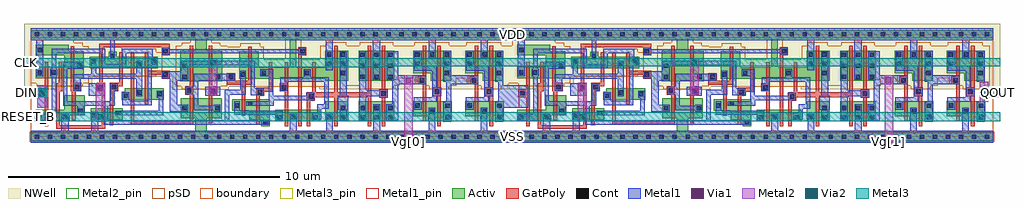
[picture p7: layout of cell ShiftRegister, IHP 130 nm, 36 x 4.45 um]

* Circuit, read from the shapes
.subckt ShiftRegister CLK DIN QOUT RESET_B VDD VSS Vg[0] Vg[1]
XM1 n1 DIN n2 VSS sg13_lv_nmos w=0.42u l=0.13u
XM2 VSS RESET_B n1 VSS sg13_lv_nmos w=0.42u l=0.13u
XM3 n3 n4 VSS VSS sg13_lv_nmos w=0.74u l=0.13u
XM4 n5 RESET_B VSS VSS sg13_lv_nmos w=0.42u l=0.13u
XM5 n6 n3 n5 VSS sg13_lv_nmos w=0.42u l=0.13u
XM6 n4 n7 n2 VSS sg13_lv_nmos w=0.42u l=0.13u
XM7 n6 n8 n4 VSS sg13_lv_nmos w=0.42u l=0.13u
XM8 VSS n7 n8 VSS sg13_lv_nmos w=0.74u l=0.13u
XM9 n7 CLK VSS VSS sg13_lv_nmos w=0.74u l=0.13u
XM10 n9 n7 n10 VSS sg13_lv_nmos w=0.42u l=0.13u
XM11 n3 n8 n9 VSS sg13_lv_nmos w=0.74u l=0.13u
XM12 VSS n11 n10 VSS sg13_lv_nmos w=0.42u l=0.13u
XM13 n12 RESET_B VSS VSS sg13_lv_nmos w=0.42u l=0.13u
XM14 n11 n9 n12 VSS sg13_lv_nmos w=0.42u l=0.13u
XM15 sg13g2_dfrbp_1_1/Q_N n9 VSS VSS sg13_lv_nmos w=0.74u l=0.13u
XM16 VSS n9 n13 VSS sg13_lv_nmos w=0.74u l=0.13u
XM17 Vg[0] n13 VSS VSS sg13_lv_nmos w=0.74u l=0.13u
XM18 VSS Vg[0] n14 VSS sg13_lv_nmos w=0.55u l=0.13u
XM19 sg13g2_buf_1_4/A n14 VSS VSS sg13_lv_nmos w=0.74u l=0.13u
XM20 VSS sg13g2_buf_1_4/A n15 VSS sg13_lv_nmos w=0.55u l=0.13u
XM21 sg13g2_dfrbp_1_0/D n15 VSS VSS sg13_lv_nmos w=0.74u l=0.13u
XM22 n16 sg13g2_dfrbp_1_0/D n17 VSS sg13_lv_nmos w=0.42u l=0.13u
XM23 VSS RESET_B n16 VSS sg13_lv_nmos w=0.42u l=0.13u
XM24 n18 n19 VSS VSS sg13_lv_nmos w=0.74u l=0.13u
XM25 n20 RESET_B VSS VSS sg13_lv_nmos w=0.42u l=0.13u
XM26 n21 n18 n20 VSS sg13_lv_nmos w=0.42u l=0.13u
XM27 n19 n22 n17 VSS sg13_lv_nmos w=0.42u l=0.13u
XM28 n21 n23 n19 VSS sg13_lv_nmos w=0.42u l=0.13u
XM29 VSS n22 n23 VSS sg13_lv_nmos w=0.74u l=0.13u
XM30 n22 CLK VSS VSS sg13_lv_nmos w=0.74u l=0.13u
XM31 n24 n22 n25 VSS sg13_lv_nmos w=0.42u l=0.13u
XM32 n18 n23 n24 VSS sg13_lv_nmos w=0.74u l=0.13u
XM33 VSS n26 n25 VSS sg13_lv_nmos w=0.42u l=0.13u
XM34 n27 RESET_B VSS VSS sg13_lv_nmos w=0.42u l=0.13u
XM35 n26 n24 n27 VSS sg13_lv_nmos w=0.42u l=0.13u
XM36 sg13g2_dfrbp_1_0/Q_N n24 VSS VSS sg13_lv_nmos w=0.74u l=0.13u
XM37 VSS n24 n28 VSS sg13_lv_nmos w=0.74u l=0.13u
XM38 Vg[1] n28 VSS VSS sg13_lv_nmos w=0.74u l=0.13u
XM39 VSS Vg[1] n29 VSS sg13_lv_nmos w=0.55u l=0.13u
XM40 sg13g2_buf_1_2/A n29 VSS VSS sg13_lv_nmos w=0.74u l=0.13u
XM41 VSS sg13g2_buf_1_2/A n30 VSS sg13_lv_nmos w=0.55u l=0.13u
XM42 QOUT n30 VSS VSS sg13_lv_nmos w=0.74u l=0.13u
XM43 n2 DIN VDD VDD sg13_lv_pmos w=0.42u l=0.13u
XM44 VDD RESET_B n2 VDD sg13_lv_pmos w=0.42u l=0.13u
XM45 n3 n4 VDD VDD sg13_lv_pmos w=1u l=0.13u
XM46 VDD RESET_B n4 VDD sg13_lv_pmos w=0.42u l=0.13u
XM47 n31 n3 VDD VDD sg13_lv_pmos w=0.42u l=0.13u
XM48 n4 n7 n31 VDD sg13_lv_pmos w=0.42u l=0.13u
XM49 n2 n8 n4 VDD sg13_lv_pmos w=0.42u l=0.13u
XM50 VDD n7 n8 VDD sg13_lv_pmos w=1.12u l=0.13u
XM51 n7 CLK VDD VDD sg13_lv_pmos w=1.12u l=0.13u
XM52 n9 n7 n3 VDD sg13_lv_pmos w=1u l=0.13u
XM53 n32 n8 n9 VDD sg13_lv_pmos w=0.42u l=0.13u
XM54 VDD n11 n32 VDD sg13_lv_pmos w=0.42u l=0.13u
XM55 n11 RESET_B VDD VDD sg13_lv_pmos w=0.42u l=0.13u
XM56 VDD n9 n11 VDD sg13_lv_pmos w=0.42u l=0.13u
XM57 sg13g2_dfrbp_1_1/Q_N n9 VDD VDD sg13_lv_pmos w=1.12u l=0.13u
XM58 VDD n9 n13 VDD sg13_lv_pmos w=1.12u l=0.13u
XM59 Vg[0] n13 VDD VDD sg13_lv_pmos w=1.12u l=0.13u
XM60 VDD Vg[0] n14 VDD sg13_lv_pmos w=0.84u l=0.13u
XM61 sg13g2_buf_1_4/A n14 VDD VDD sg13_lv_pmos w=1.12u l=0.13u
XM62 VDD sg13g2_buf_1_4/A n15 VDD sg13_lv_pmos w=0.84u l=0.13u
XM63 sg13g2_dfrbp_1_0/D n15 VDD VDD sg13_lv_pmos w=1.12u l=0.13u
XM64 n17 sg13g2_dfrbp_1_0/D VDD VDD sg13_lv_pmos w=0.42u l=0.13u
XM65 VDD RESET_B n17 VDD sg13_lv_pmos w=0.42u l=0.13u
XM66 n18 n19 VDD VDD sg13_lv_pmos w=1u l=0.13u
XM67 VDD RESET_B n19 VDD sg13_lv_pmos w=0.42u l=0.13u
XM68 n33 n18 VDD VDD sg13_lv_pmos w=0.42u l=0.13u
XM69 n19 n22 n33 VDD sg13_lv_pmos w=0.42u l=0.13u
XM70 n17 n23 n19 VDD sg13_lv_pmos w=0.42u l=0.13u
XM71 VDD n22 n23 VDD sg13_lv_pmos w=1.12u l=0.13u
XM72 n22 CLK VDD VDD sg13_lv_pmos w=1.12u l=0.13u
XM73 n24 n22 n18 VDD sg13_lv_pmos w=1u l=0.13u
XM74 n34 n23 n24 VDD sg13_lv_pmos w=0.42u l=0.13u
XM75 VDD n26 n34 VDD sg13_lv_pmos w=0.42u l=0.13u
XM76 n26 RESET_B VDD VDD sg13_lv_pmos w=0.42u l=0.13u
XM77 VDD n24 n26 VDD sg13_lv_pmos w=0.42u l=0.13u
XM78 sg13g2_dfrbp_1_0/Q_N n24 VDD VDD sg13_lv_pmos w=1.12u l=0.13u
XM79 VDD n24 n28 VDD sg13_lv_pmos w=1.12u l=0.13u
XM80 Vg[1] n28 VDD VDD sg13_lv_pmos w=1.12u l=0.13u
XM81 VDD Vg[1] n29 VDD sg13_lv_pmos w=0.84u l=0.13u
XM82 sg13g2_buf_1_2/A n29 VDD VDD sg13_lv_pmos w=1.12u l=0.13u
XM83 VDD sg13g2_buf_1_2/A n30 VDD sg13_lv_pmos w=0.84u l=0.13u
XM84 QOUT n30 VDD VDD sg13_lv_pmos w=1.12u l=0.13u
.ends

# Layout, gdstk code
import gdstk
lib = gdstk.Library(unit=1e-6, precision=1e-09)
def R(c, l, rs):  # rectangles x0, y0, x1, y1
    for r in rs: c.add(gdstk.rectangle(r[:2], r[2:], *l))
def A(c, l, x, y, w, h, nx, ny, dx, dy):  # array of equal rectangles
    R(c, l, [(x+i*dx, y+j*dy, x+i*dx+w, y+j*dy+h) for i in range(nx) for j in range(ny)])
Activ = (1, 0)
GatPoly = (5, 0)
Cont = (6, 0)
Metal1 = (8, 0)
Metal1_pin = (8, 2)
Metal2 = (10, 0)
Metal2_pin = (10, 2)
pSD = (14, 0)
Via1 = (19, 0)
Via2 = (29, 0)
Metal3 = (30, 0)
Metal3_pin = (30, 2)
NWell = (31, 0)
boundary = (189, 4)

sg13g2_dfrbp_1 = lib.new_cell('sg13g2_dfrbp_1')
R(sg13g2_dfrbp_1, Activ, [(0,-0.15,13.92,0.15), (6.075,0.15,6.505,0.675), (8.52,0.39,8.82,0.635), (0.19,0.57,1.445,0.795), (9.03,0.57,10.66,0.99), (10.87,0.57,11.725,1.31), (12.105,0.57,13.425,1.31), (2.215,0.635,3.4,1.055), (8.06,0.635,8.82,0.955), (5.535,0.675,7.045,1.415), (0.19,0.795,2,0.99), (7.445,0.955,8.82,1.375), (1.245,0.99,2,1.535), (3.365,1.36,4.91,1.66), (3.475,1.66,4.91,1.78), (5.53,2.05,7.07,3.17), (10.87,2.06,11.725,2.145), (12.1,2.06,13.425,3.18), (7.695,2.145,11.725,2.565), (0.19,2.16,1.96,2.58), (2.19,2.525,4.685,2.945), (7.695,2.565,8.415,3.145), (9.57,2.565,9.81,3.63), (10.87,2.565,11.725,3.18), (1.24,2.58,1.96,3.01), (2.88,2.945,3.18,3.14), (0.19,3.01,1.96,3.16), (0.19,3.16,1.415,3.395), (6.075,3.17,6.505,3.63), (0,3.63,13.92,3.93)])
R(sg13g2_dfrbp_1, GatPoly, [(0.95,0.295,2.75,0.43), (0.53,0.39,0.66,1.455), (9.37,0.39,9.5,1.67), (9.88,0.39,10.01,3.005), (10.19,0.39,10.32,1.335), (11.21,0.39,11.34,1.45), (12.445,0.39,12.575,1.45), (12.955,0.39,13.085,1.445), (2.93,0.425,3.06,1.685), (0.95,0.43,1.08,1.685), (2.62,0.43,2.75,1.685), (8.32,0.445,8.45,1.505), (3.705,0.465,6.005,0.605), (6.575,0.495,6.705,1.555), (3.705,0.605,3.835,3.125), (5.875,0.605,6.005,1.555), (1.53,0.615,1.66,1.685), (7.785,0.765,7.915,1.92), (4.215,1.18,4.345,2.29), (10.19,1.335,10.49,1.45), (12.87,1.445,13.17,1.745), (10.19,1.45,12.575,1.635), (0.235,1.455,0.66,1.755), (8.32,1.505,8.62,1.66), (5.705,1.555,6.005,1.855), (6.575,1.555,6.875,1.855), (10.39,1.635,10.52,2.745), (11.21,1.635,11.34,3.36), (12.445,1.635,12.575,3.36), (8.32,1.66,8.925,1.805), (9.2,1.67,9.5,1.97), (0.95,1.685,1.17,1.98), (1.49,1.685,1.865,1.985), (2.45,1.685,2.75,1.985), (2.93,1.685,3.23,1.855), (12.955,1.745,13.085,3.36), (0.53,1.755,0.66,2.76), (8.795,1.805,8.925,2.745), (2.93,1.855,3.405,1.985), (5.875,1.855,6.005,3.35), (6.575,1.855,6.705,3.35), (7.245,1.92,8.165,2.07), (9.37,1.97,9.5,2.745), (1.04,1.98,1.17,2.76), (1.49,1.985,1.62,3.34), (2.54,1.985,2.67,3.305), (3.275,1.985,3.405,3.125), (7.245,2.07,7.545,2.35), (8.035,2.07,8.165,3.325), (4.835,2.14,5.135,2.29), (4.215,2.29,5.135,2.44), (4.215,2.44,4.345,3.125), (4.835,3.005,5.135,3.305), (9.88,3.005,10.18,3.305), (2.54,3.305,5.135,3.435)])
A(sg13g2_dfrbp_1, Cont, 0.16, -0.08, 0.16, 0.16, 29, 2, 0.48, 3.78)
A(sg13g2_dfrbp_1, Cont, 10.43, 0.64, 0.16, 0.16, 3, 1, 0.51, 0)
A(sg13g2_dfrbp_1, Cont, 12.175, 0.64, 0.16, 0.16, 3, 2, 0.51, 0.34)
A(sg13g2_dfrbp_1, Cont, 12.17, 2.135, 0.16, 0.16, 1, 3, 0, 0.405)
A(sg13g2_dfrbp_1, Cont, 12.685, 2.135, 0.16, 0.16, 1, 3, 0, 0.405)
A(sg13g2_dfrbp_1, Cont, 13.195, 2.135, 0.16, 0.16, 1, 3, 0, 0.405)
A(sg13g2_dfrbp_1, Cont, 11.45, 2.27, 0.16, 0.16, 1, 3, 0, 0.34)
R(sg13g2_dfrbp_1, Cont, [(8.59,0.465,8.75,0.625), (0.26,0.64,0.42,0.8), (1.19,0.64,1.35,0.8), (9.1,0.64,9.26,0.8), (9.61,0.64,9.77,0.8), (2.285,0.705,2.445,0.865), (3.17,0.795,3.33,0.955), (1.77,0.88,1.93,1.04), (5.605,0.97,5.765,1.13), (6.815,0.97,6.975,1.13), (11.45,0.98,11.61,1.14), (7.515,1.075,7.675,1.235), (8.025,1.145,8.185,1.305), (10.26,1.405,10.42,1.565), (3.435,1.43,3.595,1.59), (4.68,1.49,4.84,1.65), (12.94,1.515,13.1,1.675), (0.305,1.525,0.465,1.685), (3.945,1.55,4.105,1.71), (8.39,1.575,8.55,1.735), (5.775,1.625,5.935,1.785), (6.645,1.625,6.805,1.785), (9.27,1.74,9.43,1.9), (1.635,1.755,1.795,1.915), (2.52,1.755,2.68,1.915), (3,1.755,3.16,1.915), (5.6,2.12,5.76,2.28), (6.84,2.12,7,2.28), (7.315,2.12,7.475,2.28), (4.905,2.21,5.065,2.37), (7.765,2.215,7.925,2.375), (8.525,2.275,8.685,2.435), (10.12,2.275,10.28,2.435), (0.26,2.29,0.42,2.45), (0.77,2.29,0.93,2.45), (5.6,2.54,5.76,2.7), (1.73,2.55,1.89,2.71), (3.945,2.595,4.105,2.755), (10.94,2.61,11.1,2.77), (2.26,2.69,2.42,2.85), (4.455,2.705,4.615,2.865), (2.95,2.91,3.11,3.07), (10.94,2.95,11.1,3.11), (4.905,3.075,5.065,3.235), (9.95,3.075,10.11,3.235), (0.265,3.12,0.425,3.28)])
R(sg13g2_dfrbp_1, Metal1, [(0,-0.22,13.92,0.22), (1.14,0.22,1.41,0.85), (2.235,0.22,2.495,0.915), (9.56,0.22,9.82,0.85), (10.91,0.22,11.15,0.85), (12.635,0.22,12.895,1.19), (2.705,0.44,8.8,0.605), (0.21,0.59,0.95,0.85), (9.05,0.59,9.31,0.805), (11.4,0.59,11.66,0.99), (12.125,0.59,12.385,1.485), (13.125,0.59,13.56,1.19), (2.705,0.605,2.875,1.15), (7.17,0.605,7.33,1.555), (8.54,0.605,8.8,0.625), (10.38,0.625,10.73,0.885), (3.12,0.785,4.905,0.96), (7.51,0.805,9.31,0.965), (1.72,0.815,1.98,1.15), (0.785,0.85,0.95,2.24), (10.57,0.885,10.73,1.03), (5.145,0.92,5.815,1.18), (6.755,0.92,6.99,0.98), (4.725,0.96,4.905,1.44), (7.51,0.965,7.725,1.31), (6.02,0.98,6.99,1.14), (11.34,0.99,11.725,1.52), (10.57,1.03,11,1.19), (0.255,1.07,0.6,1.89), (6.02,1.14,6.18,1.575), (6.755,1.14,6.99,1.18), (7.96,1.145,8.97,1.315), (1.2,1.15,3.11,1.31), (3.385,1.16,4.48,1.32), (5.145,1.18,5.42,2.07), (10.84,1.19,11,2.035), (13.35,1.19,13.56,2.095), (1.2,1.31,1.36,2.5), (2.95,1.31,3.11,1.705), (8.79,1.315,8.97,1.35), (3.385,1.32,3.645,1.64), (4.32,1.32,4.48,2.655), (8.79,1.35,10.47,1.51), (4.66,1.44,4.905,1.7), (12.87,1.445,13.17,1.485), (12.125,1.485,13.17,1.71), (3.895,1.5,4.115,2.145), (2.145,1.51,2.75,1.965), (8.79,1.51,8.95,2.225), (10.165,1.51,10.47,1.625), (6.45,1.52,6.99,1.84), (11.4,1.52,11.66,3.155), (8.115,1.525,8.6,1.785), (7.17,1.555,7.935,1.725), (5.725,1.575,6.18,1.835), (9.22,1.69,9.48,2.035), (1.585,1.705,1.845,2.145), (2.95,1.705,3.21,1.965), (12.125,1.71,12.385,3.155), (12.87,1.71,13.17,1.745), (7.745,1.725,7.935,2.425), (8.115,1.785,8.275,2.63), (6.02,1.835,6.18,2.07), (9.22,2.035,11,2.195), (5.145,2.07,5.81,2.16), (6.02,2.07,7.525,2.33), (13.145,2.095,13.56,3.155), (12.63,2.1,12.9,3.56), (1.585,2.145,4.115,2.305), (4.855,2.16,5.81,2.42), (10.07,2.195,10.33,2.495), (8.475,2.225,8.95,2.485), (0.215,2.24,0.475,3.56), (0.72,2.24,0.98,2.5), (2.245,2.305,4.115,2.315), (2.245,2.315,2.425,2.9), (3.895,2.315,4.115,2.805), (5.55,2.42,5.81,2.63), (10.89,2.46,11.15,3.56), (0.785,2.5,0.95,3.08), (1.2,2.5,1.94,2.76), (2.605,2.52,3.535,2.68), (5.55,2.63,8.275,2.8), (4.32,2.655,4.665,2.915), (2.605,2.68,2.765,3.08), (3.365,2.68,3.535,3.08), (2.945,2.86,3.115,3.56), (4.32,2.915,4.505,3.08), (4.855,3.025,5.115,3.075), (9.91,3.025,10.16,3.075), (4.855,3.075,10.16,3.235), (0.785,3.08,2.765,3.24), (3.365,3.08,4.505,3.24), (4.855,3.235,5.115,3.285), (9.91,3.235,10.16,3.285), (0,3.56,13.92,4)])
R(sg13g2_dfrbp_1, Metal1_pin, [(0,-0.22,13.92,0.22), (11.34,0.99,11.725,1.52), (0.255,1.07,0.6,1.89), (2.145,1.51,2.75,1.965), (6.45,1.52,6.99,1.84), (13.145,2.095,13.56,3.155), (0,3.56,13.92,4)])
R(sg13g2_dfrbp_1, pSD, [(-0.03,-0.18,13.95,0.18), (5.575,1.75,7.005,1.87), (10.91,1.76,11.64,1.845), (12.145,1.76,13.385,1.88), (7.735,1.845,11.64,1.88), (0.23,1.86,1.92,1.98), (5.35,1.87,7.25,1.965), (7.735,1.88,13.605,1.965), (5.35,1.965,13.605,2.865), (0.01,1.98,2.14,2.225), (0.01,2.225,4.645,2.345), (0.01,2.345,4.865,3.125), (5.35,2.865,8.595,3.325), (9.39,2.865,9.99,3.6), (10.69,2.865,13.605,3.36), (0.01,3.125,4.645,3.245), (0.01,3.245,2.14,3.34), (2.7,3.245,3.36,3.32), (5.35,3.325,7.25,3.35), (7.735,3.325,8.465,3.445), (0.01,3.34,1.92,3.46), (5.575,3.35,7.005,3.47), (10.91,3.36,11.64,3.48), (12.145,3.36,13.385,3.48), (0.01,3.46,1.595,3.575), (5.895,3.47,6.685,3.6)])
R(sg13g2_dfrbp_1, NWell, [(5.22,1.74,7.315,1.835), (-0.24,1.75,0.935,1.85), (10.655,1.75,14.16,1.835), (5.22,1.835,14.16,2.215), (-0.24,1.85,2.27,2.215), (-0.24,2.215,14.16,4.17)])
R(sg13g2_dfrbp_1, boundary, [(0,0,13.92,3.78)])
sg13g2_dfrbp_1.add(gdstk.Label('D', (0.427,1.48), layer=8, texttype=25))
sg13g2_dfrbp_1.add(gdstk.Label('Q', (13.352,2.625), layer=8, texttype=25))
sg13g2_dfrbp_1.add(gdstk.Label('CLK', (6.72,1.68), layer=8, texttype=25))
sg13g2_dfrbp_1.add(gdstk.Label('VSS', (6.96,0), layer=8, texttype=25))
sg13g2_dfrbp_1.add(gdstk.Label('RESET_B', (2.447,1.737), layer=8, texttype=25))
sg13g2_dfrbp_1.add(gdstk.Label('Q_N', (11.532,1.255), layer=8, texttype=25))
sg13g2_dfrbp_1.add(gdstk.Label('VDD', (6.96,3.78), layer=8, texttype=25))

sg13g2_buf_1 = lib.new_cell('sg13g2_buf_1')
R(sg13g2_buf_1, Activ, [(0,-0.15,1.92,0.15), (0.74,0.57,1.61,0.76), (0.2,0.76,1.61,1.31), (0.84,2.06,1.595,2.34), (0.2,2.34,1.595,3.18), (0,3.63,1.92,3.93)])
R(sg13g2_buf_1, GatPoly, [(1.09,0.39,1.22,1.5), (0.54,0.58,0.67,1.93), (0.92,1.5,1.22,1.83), (1.09,1.83,1.22,3.36), (0.365,1.93,0.67,2.23), (0.54,2.23,0.67,3.36)])
A(sg13g2_buf_1, Cont, 0.16, -0.08, 0.16, 0.16, 4, 2, 0.48, 3.78)
A(sg13g2_buf_1, Cont, 1.365, 2.27, 0.16, 0.16, 1, 3, 0, 0.34)
R(sg13g2_buf_1, Cont, [(1.38,0.65,1.54,0.81), (0.82,0.85,0.98,1.01), (1.38,1.065,1.54,1.225), (0.27,1.075,0.43,1.235), (0.99,1.585,1.15,1.745), (0.435,2,0.595,2.16), (0.27,2.61,0.43,2.77), (0.27,2.95,0.43,3.11), (0.82,2.95,0.98,3.11)])
R(sg13g2_buf_1, Metal1, [(0,-0.22,1.92,0.22), (0.765,0.22,1.015,1.07), (1.31,0.55,1.6,1.29), (0.215,1,0.515,1.29), (0.215,1.29,1.07,1.465), (1.41,1.29,1.6,2.02), (0.9,1.465,1.07,1.5), (0.9,1.5,1.225,1.83), (0.9,1.83,1.07,2.44), (0.285,1.93,0.68,2.26), (1.3,2.02,1.6,3.18), (0.24,2.44,1.07,2.62), (0.24,2.62,0.51,3.18), (0.77,2.89,1.03,3.56), (0,3.56,1.92,4)])
R(sg13g2_buf_1, Metal1_pin, [(0,-0.22,1.92,0.22), (0.285,1.93,0.68,2.26), (1.315,2.07,1.58,2.945), (0,3.56,1.92,4)])
R(sg13g2_buf_1, pSD, [(-0.03,-0.18,1.95,0.18), (0.79,1.76,1.52,1.88), (0.66,1.88,1.775,2.04), (0.24,2.04,1.775,2.16), (0.02,2.16,1.775,3.36), (0.24,3.36,1.52,3.48)])
R(sg13g2_buf_1, NWell, [(-0.24,1.75,2.16,4.17)])
R(sg13g2_buf_1, boundary, [(0,0,1.92,3.78)])
sg13g2_buf_1.add(gdstk.Label('A', (0.482,2.095), layer=8, texttype=25))
sg13g2_buf_1.add(gdstk.Label('X', (1.447,2.507), layer=8, texttype=25))
sg13g2_buf_1.add(gdstk.Label('VDD', (0.96,3.78), layer=8, texttype=25))
sg13g2_buf_1.add(gdstk.Label('VSS', (0.96,0), layer=8, texttype=25))

shiftregister = lib.new_cell('ShiftRegister')
R(shiftregister, Metal1, [(-0.16,-0.21,35.36,0.23), (17.28,1.08,18.2,1.9), (34.85,1.46,35.17,1.79), (0.15,1.51,0.38,1.74), (6.46,1.58,6.68,1.81), (24.22,1.58,24.44,1.81), (2.3,1.68,2.54,1.93), (20.09,1.71,20.3,1.93), (13.4,1.94,14.44,2.27), (15.36,1.94,16.36,2.27), (31.16,1.94,32.2,2.27), (33.11,1.94,34.12,2.27), (-0.16,3.57,35.36,4.01)])
R(shiftregister, Metal1_pin, [(-0.16,-0.21,35.36,0.23), (-0.16,3.57,35.36,4.01)])
R(shiftregister, Metal2, [(13.62,-0.27,13.94,2.27), (31.34,-0.27,31.66,2.27), (2.25,0.57,2.59,1.98), (20.03,0.58,20.35,2), (0.09,1.07,0.44,1.9), (34.85,1.3,35.17,2.03), (6.41,1.53,6.73,2.91), (24.17,1.53,24.48,2.91)])
R(shiftregister, Metal2_pin, [(13.62,-0.27,13.94,-0.07), (31.34,-0.27,31.66,-0.07)])
R(shiftregister, pSD, [(17.455,1.99,17.61,3.37), (13.445,2.17,13.78,3.37), (15.535,2.17,15.7,3.37), (31.205,2.17,31.54,3.37), (33.295,2.17,33.46,3.37)])
R(shiftregister, Via1, [(34.92,1.525,35.11,1.715), (0.17,1.53,0.36,1.72), (6.475,1.6,6.665,1.79), (24.235,1.6,24.425,1.79), (2.325,1.71,2.515,1.9), (20.1,1.725,20.29,1.915), (13.68,2,13.87,2.19), (31.395,2.005,31.585,2.195)])
R(shiftregister, Via2, [(2.325,0.65,2.515,0.84), (20.1,0.655,20.29,0.845), (34.92,1.525,35.11,1.715), (0.17,1.53,0.36,1.72), (6.475,2.65,6.665,2.84), (24.23,2.66,24.42,2.85)])
R(shiftregister, Metal3, [(-0.4,0.58,35.6,0.91), (-0.4,1.46,0.44,1.79), (34.85,1.46,35.6,1.79), (-0.4,2.58,12.92,2.61), (-0.4,2.61,35.6,2.91)])
R(shiftregister, Metal3_pin, [(-0.4,0.58,-0.2,0.91), (-0.4,1.46,-0.2,1.79), (35.4,1.46,35.6,1.79), (-0.4,2.58,-0.2,2.91)])
shiftregister.add(gdstk.Reference(sg13g2_dfrbp_1, (17.6,0.01)))
shiftregister.add(gdstk.Reference(sg13g2_dfrbp_1, (-0.16,0.01)))
shiftregister.add(gdstk.Reference(sg13g2_buf_1, (33.44,0.01)))
shiftregister.add(gdstk.Reference(sg13g2_buf_1, (31.52,0.01)))
shiftregister.add(gdstk.Reference(sg13g2_buf_1, (15.68,0.01)))
shiftregister.add(gdstk.Reference(sg13g2_buf_1, (13.76,0.01)))
shiftregister.add(gdstk.Label('CLK', (-0.3,2.745), layer=30, texttype=25))
shiftregister.add(gdstk.Label('DIN', (-0.3,1.625), layer=30, texttype=25))
shiftregister.add(gdstk.Label('RESET_B', (-0.3,0.745), layer=30, texttype=25))
shiftregister.add(gdstk.Label('QOUT', (35.5,1.625), layer=30, texttype=25))
shiftregister.add(gdstk.Label('Vg[0]', (13.78,-0.17), layer=10, texttype=25))
shiftregister.add(gdstk.Label('Vg[1]', (31.5,-0.17), layer=10, texttype=25))
shiftregister.add(gdstk.Label('VDD', (17.6,3.79), layer=8, texttype=25))
shiftregister.add(gdstk.Label('VSS', (17.6,0.01), layer=8, texttype=25))

lib.write_gds('ShiftRegister.gds')
